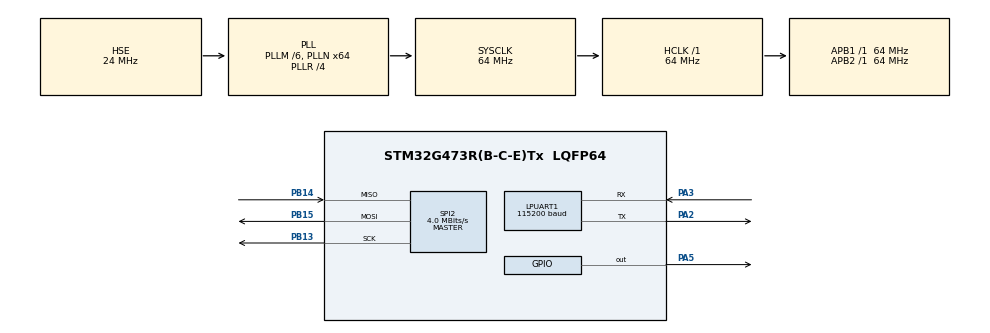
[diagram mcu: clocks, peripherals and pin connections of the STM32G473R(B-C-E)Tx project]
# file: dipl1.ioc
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Dma.LPUART1_RX.0.Direction=DMA_PERIPH_TO_MEMORY
Dma.LPUART1_RX.0.EventEnable=DISABLE
Dma.LPUART1_RX.0.Instance=DMA1_Channel1
Dma.LPUART1_RX.0.MemDataAlignment=DMA_MDATAALIGN_BYTE
Dma.LPUART1_RX.0.MemInc=DMA_MINC_ENABLE
Dma.LPUART1_RX.0.Mode=DMA_NORMAL
Dma.LPUART1_RX.0.PeriphDataAlignment=DMA_PDATAALIGN_BYTE
Dma.LPUART1_RX.0.PeriphInc=DMA_PINC_DISABLE
Dma.LPUART1_RX.0.Polarity=HAL_DMAMUX_REQ_GEN_RISING
Dma.LPUART1_RX.0.Priority=DMA_PRIORITY_LOW
Dma.LPUART1_RX.0.RequestNumber=1
Dma.LPUART1_RX.0.SignalID=NONE
Dma.LPUART1_RX.0.SyncEnable=DISABLE
Dma.LPUART1_RX.0.SyncPolarity=HAL_DMAMUX_SYNC_NO_EVENT
Dma.LPUART1_RX.0.SyncRequestNumber=1
Dma.LPUART1_RX.0.SyncSignalID=NONE
Dma.LPUART1_TX.1.Direction=DMA_MEMORY_TO_PERIPH
Dma.LPUART1_TX.1.EventEnable=DISABLE
Dma.LPUART1_TX.1.Instance=DMA1_Channel2
Dma.LPUART1_TX.1.MemDataAlignment=DMA_MDATAALIGN_BYTE
Dma.LPUART1_TX.1.MemInc=DMA_MINC_ENABLE
Dma.LPUART1_TX.1.Mode=DMA_NORMAL
Dma.LPUART1_TX.1.PeriphDataAlignment=DMA_PDATAALIGN_BYTE
Dma.LPUART1_TX.1.PeriphInc=DMA_PINC_DISABLE
Dma.LPUART1_TX.1.Polarity=HAL_DMAMUX_REQ_GEN_RISING
Dma.LPUART1_TX.1.Priority=DMA_PRIORITY_LOW
Dma.LPUART1_TX.1.RequestNumber=1
Dma.LPUART1_TX.1.SignalID=NONE
Dma.LPUART1_TX.1.SyncEnable=DISABLE
Dma.LPUART1_TX.1.SyncPolarity=HAL_DMAMUX_SYNC_NO_EVENT
Dma.LPUART1_TX.1.SyncRequestNumber=1
Dma.LPUART1_TX.1.SyncSignalID=NONE
Dma.Request0=LPUART1_RX
Dma.Request1=LPUART1_TX
Dma.Request2=SPI2_RX
Dma.Request3=SPI2_TX
Dma.SPI2_RX.2.Direction=DMA_PERIPH_TO_MEMORY
Dma.SPI2_RX.2.EventEnable=DISABLE
Dma.SPI2_RX.2.Instance=DMA1_Channel3
Dma.SPI2_RX.2.MemDataAlignment=DMA_MDATAALIGN_BYTE
Dma.SPI2_RX.2.MemInc=DMA_MINC_ENABLE
Dma.SPI2_RX.2.Mode=DMA_NORMAL
Dma.SPI2_RX.2.PeriphDataAlignment=DMA_PDATAALIGN_BYTE
Dma.SPI2_RX.2.PeriphInc=DMA_PINC_DISABLE
Dma.SPI2_RX.2.Polarity=HAL_DMAMUX_REQ_GEN_RISING
Dma.SPI2_RX.2.Priority=DMA_PRIORITY_LOW
Dma.SPI2_RX.2.RequestNumber=1
Dma.SPI2_RX.2.SignalID=NONE
Dma.SPI2_RX.2.SyncEnable=DISABLE
Dma.SPI2_RX.2.SyncPolarity=HAL_DMAMUX_SYNC_NO_EVENT
Dma.SPI2_RX.2.SyncRequestNumber=1
Dma.SPI2_RX.2.SyncSignalID=NONE
Dma.SPI2_TX.3.Direction=DMA_MEMORY_TO_PERIPH
Dma.SPI2_TX.3.EventEnable=DISABLE
Dma.SPI2_TX.3.Instance=DMA1_Channel4
Dma.SPI2_TX.3.MemDataAlignment=DMA_MDATAALIGN_BYTE
Dma.SPI2_TX.3.MemInc=DMA_MINC_ENABLE
Dma.SPI2_TX.3.Mode=DMA_NORMAL
Dma.SPI2_TX.3.PeriphDataAlignment=DMA_PDATAALIGN_BYTE
Dma.SPI2_TX.3.PeriphInc=DMA_PINC_DISABLE
Dma.SPI2_TX.3.Polarity=HAL_DMAMUX_REQ_GEN_RISING
Dma.SPI2_TX.3.Priority=DMA_PRIORITY_LOW
Dma.SPI2_TX.3.RequestNumber=1
Dma.SPI2_TX.3.SignalID=NONE
Dma.SPI2_TX.3.SyncEnable=DISABLE
Dma.SPI2_TX.3.SyncPolarity=HAL_DMAMUX_SYNC_NO_EVENT
Dma.SPI2_TX.3.SyncRequestNumber=1
Dma.SPI2_TX.3.SyncSignalID=NONE
FREERTOS.BinarySemaphores01=semUartDma,Dynamic,NULL
FREERTOS.Mutexes01=mtxCalib,Dynamic,NULL
FREERTOS.Queues01=qCalibOut,8,float,0,Dynamic,NULL,NULL
FREERTOS.Tasks01=defaultTask,8,1024,StartDefaultTask,Default,NULL,Dynamic,NULL,NULL;tDSP_Core,40,512,StartTDSP_Core,Default,NULL,Dynamic,NULL,NULL;tUartTx,24,256,StartTUartTx,Default,NULL,Dynamic,NULL,NULL;tCmd,8,128,StartTCmd,Default,NULL,Dynamic,NULL,NULL
FREERTOS.configENABLE_FPU=1
FREERTOS.configMAX_TASK_NAME_LEN=30
FREERTOS.configTOTAL_HEAP_SIZE=65536
FREERTOS.configUSE_IDLE_HOOK=1
FREERTOS.configUSE_MALLOC_FAILED_HOOK=1
FREERTOS.configUSE_TICK_HOOK=1
LPUART1.BaudRate=115200
Mcu.Family=STM32G4
Mcu.Name=STM32G473R(B-C-E)Tx
Mcu.Package=LQFP64
NVIC.DMA1_Channel1_IRQn=true\:10\:0\:true\:false\:true\:true\:false\:true\:true
NVIC.DMA1_Channel2_IRQn=true\:10\:0\:true\:false\:true\:true\:false\:true\:true
NVIC.DMA1_Channel3_IRQn=true\:5\:0\:true\:false\:true\:true\:false\:true\:true
NVIC.DMA1_Channel4_IRQn=true\:5\:0\:false\:false\:true\:true\:false\:true\:true
NVIC.FPU_IRQn=true\:5\:0\:false\:false\:true\:true\:true\:false\:true
NVIC.LPUART1_IRQn=true\:10\:0\:true\:false\:true\:true\:false\:true\:true
NVIC.PriorityGroup=NVIC_PRIORITYGROUP_4
NVIC.SPI2_IRQn=true\:6\:0\:true\:false\:true\:true\:true\:true\:true
PA13.Mode=Serial_Wire
PA13.Signal=SYS_JTMS-SWDIO
PA14.Mode=Serial_Wire
PA14.Signal=SYS_JTCK-SWCLK
PA2.GPIO_Speed=GPIO_SPEED_FREQ_HIGH
PA2.Mode=Asynchronous
PA2.Signal=LPUART1_TX
PA3.GPIO_Speed=GPIO_SPEED_FREQ_HIGH
PA3.Mode=Asynchronous
PA3.Signal=LPUART1_RX
PA5.Signal=GPIO_Output
PB13.Mode=Full_Duplex_Master
PB13.Signal=SPI2_SCK
PB14.Mode=Full_Duplex_Master
PB14.Signal=SPI2_MISO
PB15.Mode=Full_Duplex_Master
PB15.Signal=SPI2_MOSI
PF0-OSC_IN.Mode=HSE-External-Oscillator
PF0-OSC_IN.Signal=RCC_OSC_IN
PF1-OSC_OUT.Mode=HSE-External-Oscillator
PF1-OSC_OUT.Signal=RCC_OSC_OUT
ProjectManager.HeapSize=0x200
ProjectManager.StackSize=0x400
ProjectManager.TargetToolchain=STM32CubeIDE
RCC.ADC12Freq_Value=64000000
RCC.ADC345Freq_Value=64000000
RCC.AHBFreq_Value=64000000
RCC.APB1Freq_Value=64000000
RCC.APB1TimFreq_Value=64000000
RCC.APB2Freq_Value=64000000
RCC.APB2TimFreq_Value=64000000
RCC.CortexFreq_Value=64000000
RCC.EXTERNAL_CLOCK_VALUE=12288000
RCC.EnbaleCSS=true
RCC.HCLKFreq_Value=64000000
RCC.HSE_VALUE=24000000
RCC.HSI48_VALUE=48000000
RCC.HSI_VALUE=16000000
RCC.LSE_VALUE=32768
RCC.PLLM=RCC_PLLM_DIV6
RCC.PLLN=64
RCC.PLLR=RCC_PLLR_DIV4
RCC.PLLSourceVirtual=RCC_PLLSOURCE_HSE
RCC.SYSCLKFreq_VALUE=64000000
RCC.SYSCLKSource=RCC_SYSCLKSOURCE_PLLCLK
RCC.USBFreq_Value=128000000
RCC.VCOOutputFreq_Value=256000000
SPI2.BaudRatePrescaler=SPI_BAUDRATEPRESCALER_16
SPI2.CalculateBaudRate=4.0 MBits/s
SPI2.DataSize=SPI_DATASIZE_8BIT
SPI2.Direction=SPI_DIRECTION_2LINES
SPI2.Mode=SPI_MODE_MASTER
SPI2.VirtualType=VM_MASTER
VP_FREERTOS_VS_CMSIS_V2.Mode=CMSIS_V2
VP_SYS_VS_DBSignals.Mode=DisableDeadBatterySignals
board=custom

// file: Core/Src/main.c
/* USER CODE BEGIN Header */
/**
  ******************************************************************************
  * @file           : main.c
  * @brief          : Main program body
  ******************************************************************************
  * @attention
  *
  * Copyright (c) 2026 STMicroelectronics.
  * All rights reserved.
  *
  * This software is licensed under terms that can be found in the LICENSE file
  * in the root directory of this software component.
  * If no LICENSE file comes with this software, it is provided AS-IS.
  *
  ******************************************************************************
  */
/* USER CODE END Header */
#include "main.h"
#include "cmsis_os.h"

/* USER CODE BEGIN Includes */
#include "stdio.h"
#include <string.h>
/* USER CODE END Includes */

UART_HandleTypeDef hlpuart1;
DMA_HandleTypeDef hdma_lpuart1_rx;
DMA_HandleTypeDef hdma_lpuart1_tx;

SPI_HandleTypeDef hspi2;
DMA_HandleTypeDef hdma_spi2_rx;
DMA_HandleTypeDef hdma_spi2_tx;

/* Definitions for defaultTask */
osThreadId_t defaultTaskHandle;
const osThreadAttr_t defaultTask_attributes = {
  .name = "defaultTask",
  .priority = (osPriority_t) osPriorityLow,
  .stack_size = 1024 * 4
};
/* Definitions for tDSP_Core */
osThreadId_t tDSP_CoreHandle;
const osThreadAttr_t tDSP_Core_attributes = {
  .name = "tDSP_Core",
  .priority = (osPriority_t) osPriorityHigh,
  .stack_size = 512 * 4
};
/* Definitions for tUartTx */
osThreadId_t tUartTxHandle;
const osThreadAttr_t tUartTx_attributes = {
  .name = "tUartTx",
  .priority = (osPriority_t) osPriorityNormal,
  .stack_size = 256 * 4
};
/* Definitions for tCmd */
osThreadId_t tCmdHandle;
const osThreadAttr_t tCmd_attributes = {
  .name = "tCmd",
  .priority = (osPriority_t) osPriorityLow,
  .stack_size = 128 * 4
};
/* Definitions for qCalibOut */
osMessageQueueId_t qCalibOutHandle;
const osMessageQueueAttr_t qCalibOut_attributes = {
  .name = "qCalibOut"
};
/* Definitions for mtxCalib */
osMutexId_t mtxCalibHandle;
const osMutexAttr_t mtxCalib_attributes = {
  .name = "mtxCalib"
};
/* Definitions for semUartDma */
osSemaphoreId_t semUartDmaHandle;
const osSemaphoreAttr_t semUartDma_attributes = {
  .name = "semUartDma"
};

/* USER CODE BEGIN PV */

char test[20] = "Hello UART!\r\n";
#define DATA_SIZE 16
uint8_t spi_rx_buf[DATA_SIZE];
/* Буферы SPI DMA (выровнены для кэша, если есть) */
#define SPI_DMA_BUF_SIZE  256
__ALIGN_BEGIN static uint8_t spi_rx_buf[SPI_DMA_BUF_SIZE] __ALIGN_END;
static uint8_t spi_tx_dummy = 0x00;  // Dummy-байт для генерации SCK

/* Состояние фильтра SINC3 */
typedef struct {
    int32_t i1, i2, i3;  // Интеграторы
    int32_t d1, d2, d3;  // Комб-фильтр
    uint16_t cnt;
} SINC3_t;
static SINC3_t sinc3;

/* Калибровка */
typedef struct {
    float offset;
    float gain;
    uint8_t calibrated;
} Calib_t;
static Calib_t calib = {.offset = 0, .gain = 1.0f, .calibrated = 0};

/* Флаги для задач */
#define FLAG_DMA_HALF  0x01UL
#define FLAG_DMA_FULL  0x02UL
#define FLAG_DATA_READY 0x04UL

/* USER CODE END PV */

void SystemClock_Config(void);
static void MX_GPIO_Init(void);
static void MX_DMA_Init(void);
static void MX_LPUART1_UART_Init(void);
static void MX_SPI2_Init(void);
void StartDefaultTask(void *argument);
void StartTDSP_Core(void *argument);
void StartTUartTx(void *argument);
void StartTCmd(void *argument);

int main(void)
{

  /* MCU Configuration--------------------------------------------------------*/

  /* Reset of all peripherals, Initializes the Flash interface and the Systick. */
  HAL_Init();

  /* Configure the system clock */
  SystemClock_Config();

  /* Initialize all configured peripherals */
  MX_GPIO_Init();
  MX_DMA_Init();
  MX_LPUART1_UART_Init();
  MX_SPI2_Init();

  /* USER CODE BEGIN 2 */

  // Инициализация SINC3
  memset(&sinc3, 0, sizeof(sinc3));

  // Запуск SPI DMA (непрерывный приём + генерация SCK)
  HAL_SPI_Transmit_DMA(&hspi2, &spi_tx_dummy, 1);  // Circular TX для SCK
  HAL_SPI_Receive_DMA(&hspi2, spi_rx_buf, SPI_DMA_BUF_SIZE);  // Circular RX

  // Разблокировать семафор UART DMA (первая передача может идти сразу)
  osSemaphoreRelease(semUartDmaHandle);

  /* USER CODE END 2 */

  /* Init scheduler */
  osKernelInitialize();
  /* Create the mutex(es) */
  /* creation of mtxCalib */
  mtxCalibHandle = osMutexNew(&mtxCalib_attributes);

  /* Create the semaphores(s) */
  /* creation of semUartDma */
  semUartDmaHandle = osSemaphoreNew(1, 0, &semUartDma_attributes);

  /* USER CODE BEGIN RTOS_SEMAPHORES */
  /* add semaphores, ... */
  osSemaphoreId uartTxDoneSem;
  osSemaphoreDef(uartTxDone);

  /* USER CODE END RTOS_SEMAPHORES */

  /* Create the queue(s) */
  /* creation of qCalibOut */
  qCalibOutHandle = osMessageQueueNew (8, sizeof(float), &qCalibOut_attributes);

  /* Create the thread(s) */
  /* creation of defaultTask */
  defaultTaskHandle = osThreadNew(StartDefaultTask, NULL, &defaultTask_attributes);

  /* creation of tDSP_Core */
  tDSP_CoreHandle = osThreadNew(StartTDSP_Core, NULL, &tDSP_Core_attributes);

  /* creation of tUartTx */
  tUartTxHandle = osThreadNew(StartTUartTx, NULL, &tUartTx_attributes);

  /* creation of tCmd */
  tCmdHandle = osThreadNew(StartTCmd, NULL, &tCmd_attributes);

  /* Start scheduler */
  osKernelStart();

  /* We should never get here as control is now taken by the scheduler */

  /* Infinite loop */
  while (1)
  {

  }
}

void SystemClock_Config(void)
{
  RCC_OscInitTypeDef RCC_OscInitStruct = {0};
  RCC_ClkInitTypeDef RCC_ClkInitStruct = {0};

  /** Configure the main internal regulator output voltage
  */
  HAL_PWREx_ControlVoltageScaling(PWR_REGULATOR_VOLTAGE_SCALE1);

  /** Initializes the RCC Oscillators according to the specified parameters
  * in the RCC_OscInitTypeDef structure.
  */
  RCC_OscInitStruct.OscillatorType = RCC_OSCILLATORTYPE_HSE;
  RCC_OscInitStruct.HSEState = RCC_HSE_ON;
  RCC_OscInitStruct.PLL.PLLState = RCC_PLL_ON;
  RCC_OscInitStruct.PLL.PLLSource = RCC_PLLSOURCE_HSE;
  RCC_OscInitStruct.PLL.PLLM = RCC_PLLM_DIV6;
  RCC_OscInitStruct.PLL.PLLN = 64;
  RCC_OscInitStruct.PLL.PLLP = RCC_PLLP_DIV2;
  RCC_OscInitStruct.PLL.PLLQ = RCC_PLLQ_DIV2;
  RCC_OscInitStruct.PLL.PLLR = RCC_PLLR_DIV4;
  if (HAL_RCC_OscConfig(&RCC_OscInitStruct) != HAL_OK)
  {
    Error_Handler();
  }

  /** Initializes the CPU, AHB and APB buses clocks
  */
  RCC_ClkInitStruct.ClockType = RCC_CLOCKTYPE_HCLK|RCC_CLOCKTYPE_SYSCLK
                              |RCC_CLOCKTYPE_PCLK1|RCC_CLOCKTYPE_PCLK2;
  RCC_ClkInitStruct.SYSCLKSource = RCC_SYSCLKSOURCE_PLLCLK;
  RCC_ClkInitStruct.AHBCLKDivider = RCC_SYSCLK_DIV1;
  RCC_ClkInitStruct.APB1CLKDivider = RCC_HCLK_DIV1;
  RCC_ClkInitStruct.APB2CLKDivider = RCC_HCLK_DIV1;

  if (HAL_RCC_ClockConfig(&RCC_ClkInitStruct, FLASH_LATENCY_2) != HAL_OK)
  {
    Error_Handler();
  }

  /** Enables the Clock Security System
  */
  HAL_RCC_EnableCSS();
}

static void MX_LPUART1_UART_Init(void)
{

  /* USER CODE BEGIN LPUART1_Init 1 */
__HAL_RCC_LPUART1_CLK_ENABLE();

  /* USER CODE END LPUART1_Init 1 */
  hlpuart1.Instance = LPUART1;
  hlpuart1.Init.BaudRate = 115200;
  hlpuart1.Init.WordLength = UART_WORDLENGTH_8B;
  hlpuart1.Init.StopBits = UART_STOPBITS_1;
  hlpuart1.Init.Parity = UART_PARITY_NONE;
  hlpuart1.Init.Mode = UART_MODE_TX_RX;
  hlpuart1.Init.HwFlowCtl = UART_HWCONTROL_NONE;
  hlpuart1.Init.OneBitSampling = UART_ONE_BIT_SAMPLE_DISABLE;
  hlpuart1.Init.ClockPrescaler = UART_PRESCALER_DIV1;
  hlpuart1.AdvancedInit.AdvFeatureInit = UART_ADVFEATURE_NO_INIT;
  if (HAL_UART_Init(&hlpuart1) != HAL_OK)
  {
    Error_Handler();
  }
  if (HAL_UARTEx_SetTxFifoThreshold(&hlpuart1, UART_TXFIFO_THRESHOLD_1_8) != HAL_OK)
  {
    Error_Handler();
  }
  if (HAL_UARTEx_SetRxFifoThreshold(&hlpuart1, UART_RXFIFO_THRESHOLD_1_8) != HAL_OK)
  {
    Error_Handler();
  }
  if (HAL_UARTEx_DisableFifoMode(&hlpuart1) != HAL_OK)
  {
    Error_Handler();
  }

}

static void MX_SPI2_Init(void)
{

  /* SPI2 parameter configuration*/
  hspi2.Instance = SPI2;
  hspi2.Init.Mode = SPI_MODE_MASTER;
  hspi2.Init.Direction = SPI_DIRECTION_2LINES;
  hspi2.Init.DataSize = SPI_DATASIZE_8BIT;
  hspi2.Init.CLKPolarity = SPI_POLARITY_LOW;
  hspi2.Init.CLKPhase = SPI_PHASE_1EDGE;
  hspi2.Init.NSS = SPI_NSS_SOFT;
  hspi2.Init.BaudRatePrescaler = SPI_BAUDRATEPRESCALER_16;
  hspi2.Init.FirstBit = SPI_FIRSTBIT_MSB;
  hspi2.Init.TIMode = SPI_TIMODE_DISABLE;
  hspi2.Init.CRCCalculation = SPI_CRCCALCULATION_DISABLE;
  hspi2.Init.CRCPolynomial = 7;
  hspi2.Init.CRCLength = SPI_CRC_LENGTH_DATASIZE;
  hspi2.Init.NSSPMode = SPI_NSS_PULSE_ENABLE;
  if (HAL_SPI_Init(&hspi2) != HAL_OK)
  {
    Error_Handler();
  }

}

static void MX_DMA_Init(void)
{

  /* DMA controller clock enable */
  __HAL_RCC_DMAMUX1_CLK_ENABLE();
  __HAL_RCC_DMA1_CLK_ENABLE();

  /* DMA interrupt init */
  /* DMA1_Channel1_IRQn interrupt configuration */
  HAL_NVIC_SetPriority(DMA1_Channel1_IRQn, 10, 0);
  HAL_NVIC_EnableIRQ(DMA1_Channel1_IRQn);
  /* DMA1_Channel2_IRQn interrupt configuration */
  HAL_NVIC_SetPriority(DMA1_Channel2_IRQn, 10, 0);
  HAL_NVIC_EnableIRQ(DMA1_Channel2_IRQn);
  /* DMA1_Channel3_IRQn interrupt configuration */
  HAL_NVIC_SetPriority(DMA1_Channel3_IRQn, 5, 0);
  HAL_NVIC_EnableIRQ(DMA1_Channel3_IRQn);
  /* DMA1_Channel4_IRQn interrupt configuration */
  HAL_NVIC_SetPriority(DMA1_Channel4_IRQn, 5, 0);
  HAL_NVIC_EnableIRQ(DMA1_Channel4_IRQn);

}

static void MX_GPIO_Init(void)
{
  GPIO_InitTypeDef GPIO_InitStruct = {0};

  /* GPIO Ports Clock Enable */
  __HAL_RCC_GPIOF_CLK_ENABLE();
  __HAL_RCC_GPIOA_CLK_ENABLE();
  __HAL_RCC_GPIOB_CLK_ENABLE();

  /*Configure GPIO pin Output Level */
  HAL_GPIO_WritePin(GPIOA, GPIO_PIN_5, GPIO_PIN_RESET);

  /*Configure GPIO pin : PA5 */
  GPIO_InitStruct.Pin = GPIO_PIN_5;
  GPIO_InitStruct.Mode = GPIO_MODE_OUTPUT_PP;
  GPIO_InitStruct.Pull = GPIO_NOPULL;
  GPIO_InitStruct.Speed = GPIO_SPEED_FREQ_LOW;
  HAL_GPIO_Init(GPIOA, &GPIO_InitStruct);

}

void StartDefaultTask(void *argument)
{
  /* USER CODE BEGIN 5 */
  /* Infinite loop */

	char uart_msg[100];
    for(;;) {
    	HAL_SPI_Receive(&hspi2, spi_rx_buf, DATA_SIZE, HAL_MAX_DELAY);
    	int len = 0;

    	// 1. Заголовок
    	len += snprintf(uart_msg + len, sizeof(uart_msg) - len, "Received: ");

    	// 2. Вывод каждого байта (рекомендуется HEX для отладки SPI)
    	for (int i = 0; i < DATA_SIZE; i++) {
    	    // Защита от переполнения буфера
    	    if (len >= (int)sizeof(uart_msg) - 10) break;
    	    len += snprintf(uart_msg + len, sizeof(uart_msg) - len, "%02X ", spi_rx_buf[i]);
    	}

    	// 3. Перенос строки и терминатор (snprintf сам добавит '\0')
    	len += snprintf(uart_msg + len, sizeof(uart_msg) - len, "\r\n");
        HAL_UART_Transmit_DMA(&hlpuart1, (uint8_t*)uart_msg, strlen(uart_msg));
        HAL_GPIO_TogglePin(GPIOA, GPIO_PIN_5);
        osDelay(500); // 500 мс, чтобы не засорять терминал
    }
  /* USER CODE END 5 */
}

void StartTDSP_Core(void *argument)
{
  for(;;)
  {
    osDelay(1);
  }
}

void StartTUartTx(void *argument)
{
  for(;;)
  {
    osDelay(1);
  }
}

void StartTCmd(void *argument)
{
  for(;;)
  {
    osDelay(1);
  }
}

void Error_Handler(void)
{
  __disable_irq();
  while (1)
  {
  }
}

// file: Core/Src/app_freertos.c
/* USER CODE BEGIN Header */
/**
  ******************************************************************************
  * File Name          : app_freertos.c
  * Description        : Code for freertos applications
  ******************************************************************************
  * @attention
  *
  * Copyright (c) 2026 STMicroelectronics.
  * All rights reserved.
  *
  * This software is licensed under terms that can be found in the LICENSE file
  * in the root directory of this software component.
  * If no LICENSE file comes with this software, it is provided AS-IS.
  *
  ******************************************************************************
  */
/* USER CODE END Header */

#include "FreeRTOS.h"
#include "task.h"
#include "main.h"

/* Hook prototypes */
void vApplicationIdleHook(void);
void vApplicationTickHook(void);
void vApplicationMallocFailedHook(void);

/* USER CODE BEGIN 2 */
__weak void vApplicationIdleHook( void )
{
   /* vApplicationIdleHook() will only be called if configUSE_IDLE_HOOK is set
   to 1 in FreeRTOSConfig.h. It will be called on each iteration of the idle
   task. It is essential that code added to this hook function never attempts
   to block in any way (for example, call xQueueReceive() with a block time
   specified, or call vTaskDelay()). If the application makes use of the
   vTaskDelete() API function (as this demo application does) then it is also
   important that vApplicationIdleHook() is permitted to return to its calling
   function, because it is the responsibility of the idle task to clean up
   memory allocated by the kernel to any task that has since been deleted. */
}
/* USER CODE END 2 */

/* USER CODE BEGIN 3 */
__weak void vApplicationTickHook( void )
{
   /* This function will be called by each tick interrupt if
   configUSE_TICK_HOOK is set to 1 in FreeRTOSConfig.h. User code can be
   added here, but the tick hook is called from an interrupt context, so
   code must not attempt to block, and only the interrupt safe FreeRTOS API
   functions can be used (those that end in FromISR()). */
}
/* USER CODE END 3 */

/* USER CODE BEGIN 5 */
__weak void vApplicationMallocFailedHook(void)
{
   /* vApplicationMallocFailedHook() will only be called if
   configUSE_MALLOC_FAILED_HOOK is set to 1 in FreeRTOSConfig.h. It is a hook
   function that will get called if a call to pvPortMalloc() fails.
   pvPortMalloc() is called internally by the kernel whenever a task, queue,
   timer or semaphore is created. It is also called by various parts of the
   demo application. If heap_1.c or heap_2.c are used, then the size of the
   heap available to pvPortMalloc() is defined by configTOTAL_HEAP_SIZE in
   FreeRTOSConfig.h, and the xPortGetFreeHeapSize() API function can be used
   to query the size of free heap space that remains (although it does not
   provide information on how the remaining heap might be fragmented). */
}
/* USER CODE END 5 */
